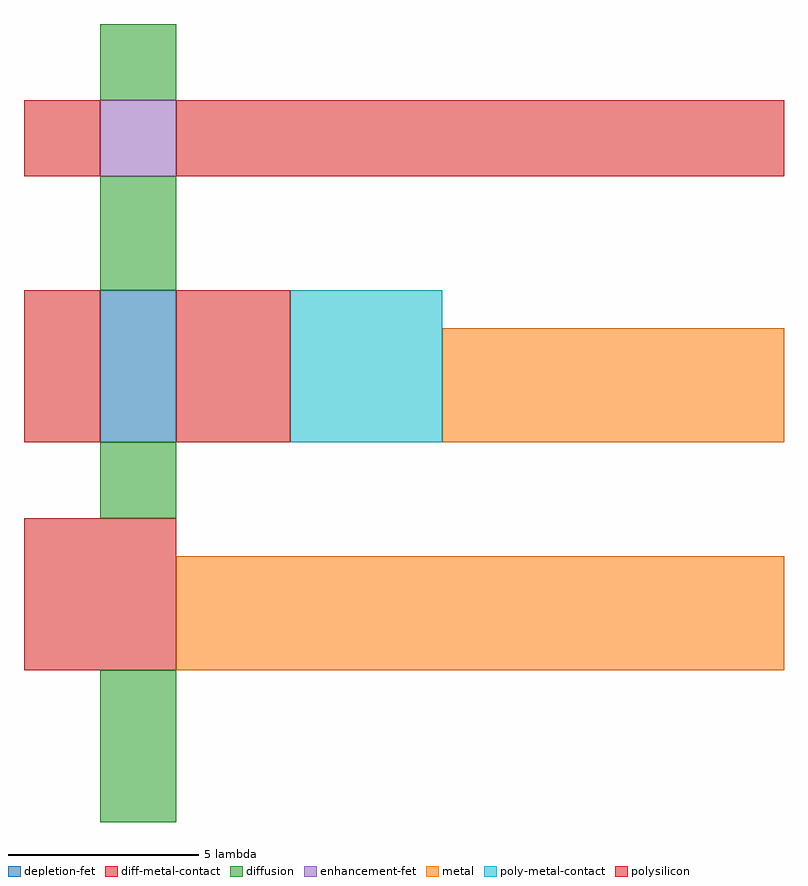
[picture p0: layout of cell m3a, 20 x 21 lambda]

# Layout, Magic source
magic
tech nmos
<< polysilicon >>
rect -10 8 -8 10
rect -6 8 10 10
rect -10 1 -8 5
rect -6 1 -3 5
<< diffusion >>
rect -8 10 -6 12
rect -8 5 -6 8
rect -8 -1 -6 1
rect -8 -9 -6 -5
<< metal >>
rect 1 1 10 4
rect -6 -5 10 -2
<< poly-metal-contact >>
rect -3 1 1 5
<< diff-metal-contact >>
rect -10 -5 -6 -1
<< enhancement-fet >>
rect -8 8 -6 10
<< depletion-fet >>
rect -8 1 -6 5
<< end >>
